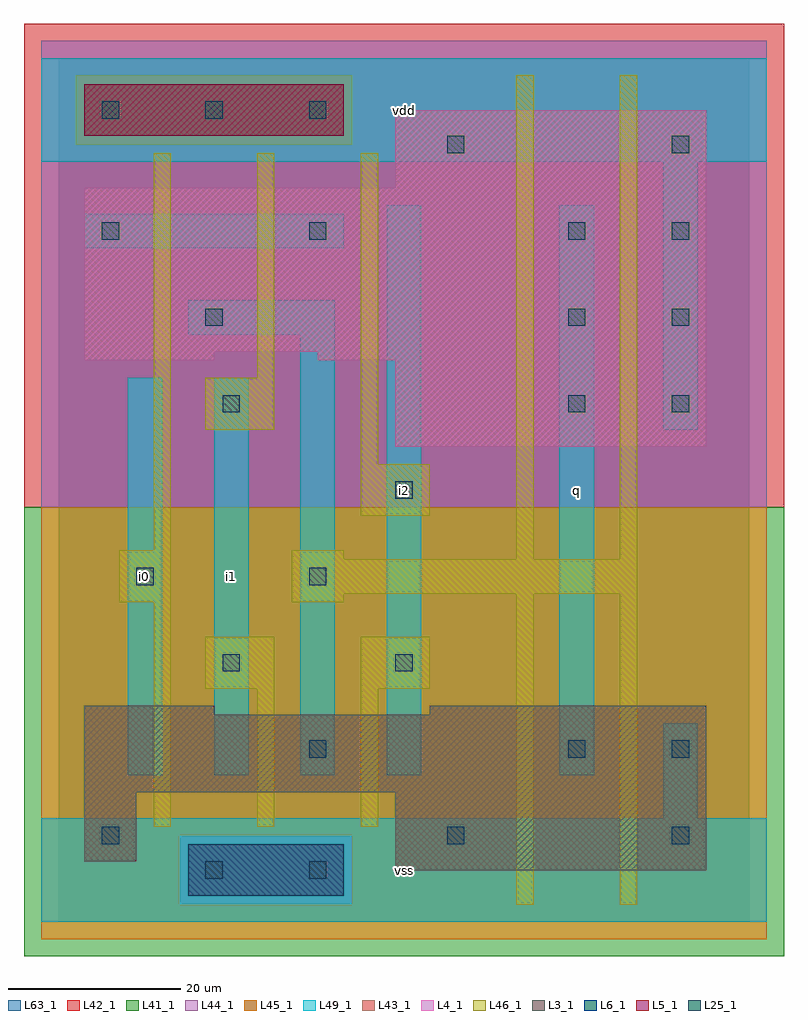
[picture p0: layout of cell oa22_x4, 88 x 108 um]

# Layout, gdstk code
import gdstk
lib = gdstk.Library(unit=1e-6, precision=1e-09)
def R(c, l, rs):  # rectangles x0, y0, x1, y1
    for r in rs: c.add(gdstk.rectangle(r[:2], r[2:], *l))
def A(c, l, x, y, w, h, nx, ny, dx, dy):  # array of equal rectangles
    R(c, l, [(x+i*dx, y+j*dy, x+i*dx+w, y+j*dy+h) for i in range(nx) for j in range(ny)])
L3_1 = (3, 1)
L4_1 = (4, 1)
L5_1 = (5, 1)
L6_1 = (6, 1)
L25_1 = (25, 1)
L41_1 = (41, 1)
L42_1 = (42, 1)
L43_1 = (43, 1)
L44_1 = (44, 1)
L45_1 = (45, 1)
L46_1 = (46, 1)
L49_1 = (49, 1)
L63_1 = (63, 1)

oa22_x4 = lib.new_cell('oa22_x4')
R(oa22_x4, L3_1, [(39,6,75,15), (3,7,9,15), (3,15,75,24), (3,24,18,25), (43,24,75,25)])
R(oa22_x4, L4_1, [(39,55,75,65), (3,65,18,66), (30,65,75,66), (3,66,75,85), (39,85,75,94)])
R(oa22_x4, L5_1, [(3,91,33,97)])
R(oa22_x4, L6_1, [(15,3,33,9), (15,3,33,9)])
A(oa22_x4, L25_1, 59, 59, 2, 2, 1, 3, 0, 10)
A(oa22_x4, L25_1, 71, 59, 2, 2, 1, 4, 0, 10)
A(oa22_x4, L25_1, 5, 93, 2, 2, 3, 1, 12, 0)
R(oa22_x4, L25_1, [(17,5,19,7), (29,5,31,7), (5,9,7,11), (45,9,47,11), (71,9,73,11), (29,19,31,21), (59,19,61,21), (71,19,73,21), (19,29,21,31), (39,29,41,31), (9,39,11,41), (29,39,31,41), (39,49,41,51), (19,59,21,61), (17,69,19,71), (5,79,7,81), (29,79,31,81), (45,89,47,91)])
R(oa22_x4, L41_1, [(-4,-4,84,48)])
R(oa22_x4, L42_1, [(-4,48,84,104)])
R(oa22_x4, L43_1, [(15,3,33,9), (39,6,75,15), (3,7,9,15), (3,15,75,24), (3,24,18,25), (43,24,75,25), (39,55,75,65), (3,65,18,66), (30,65,75,66), (3,66,75,85), (39,85,75,94), (3,91,33,97)])
R(oa22_x4, L44_1, [(14,2,34,10), (-2,48,82,90), (-2,90,2,98), (34,90,82,98), (-2,98,82,102)])
R(oa22_x4, L45_1, [(-2,-2,82,2), (-2,2,14,10), (34,2,82,10), (-2,10,82,48), (2,90,34,98)])
R(oa22_x4, L46_1, [(53,2,55,38), (65,2,67,38), (11,11,13,37), (23,11,25,27), (35,11,37,27), (17,27,25,33), (35,27,43,33), (7,37,13,43), (27,37,33,38), (27,38,67,42), (27,42,33,43), (53,42,55,98), (65,42,67,98), (11,43,13,89), (35,47,43,53), (35,53,37,89), (17,57,25,63), (23,63,25,89)])
R(oa22_x4, L49_1, [(-2,0,82,12), (70,12,74,23), (8,17,12,63), (18,17,22,63), (28,17,32,68), (38,17,42,83), (58,17,62,83), (70,57,74,88), (15,68,32,72), (3,78,33,82), (-2,88,82,100)])
R(oa22_x4, L63_1, [(0,0,80,100)])
oa22_x4.add(gdstk.Label('i0', (10,40), layer=49, texttype=1))
oa22_x4.add(gdstk.Label('i1', (20,40), layer=49, texttype=1))
oa22_x4.add(gdstk.Label('vss', (40,6), layer=49, texttype=1))
oa22_x4.add(gdstk.Label('i2', (40,50), layer=49, texttype=1))
oa22_x4.add(gdstk.Label('vdd', (40,94), layer=49, texttype=1))
oa22_x4.add(gdstk.Label('q', (60,50), layer=49, texttype=1))

lib.write_gds('oa22_x4.gds')
